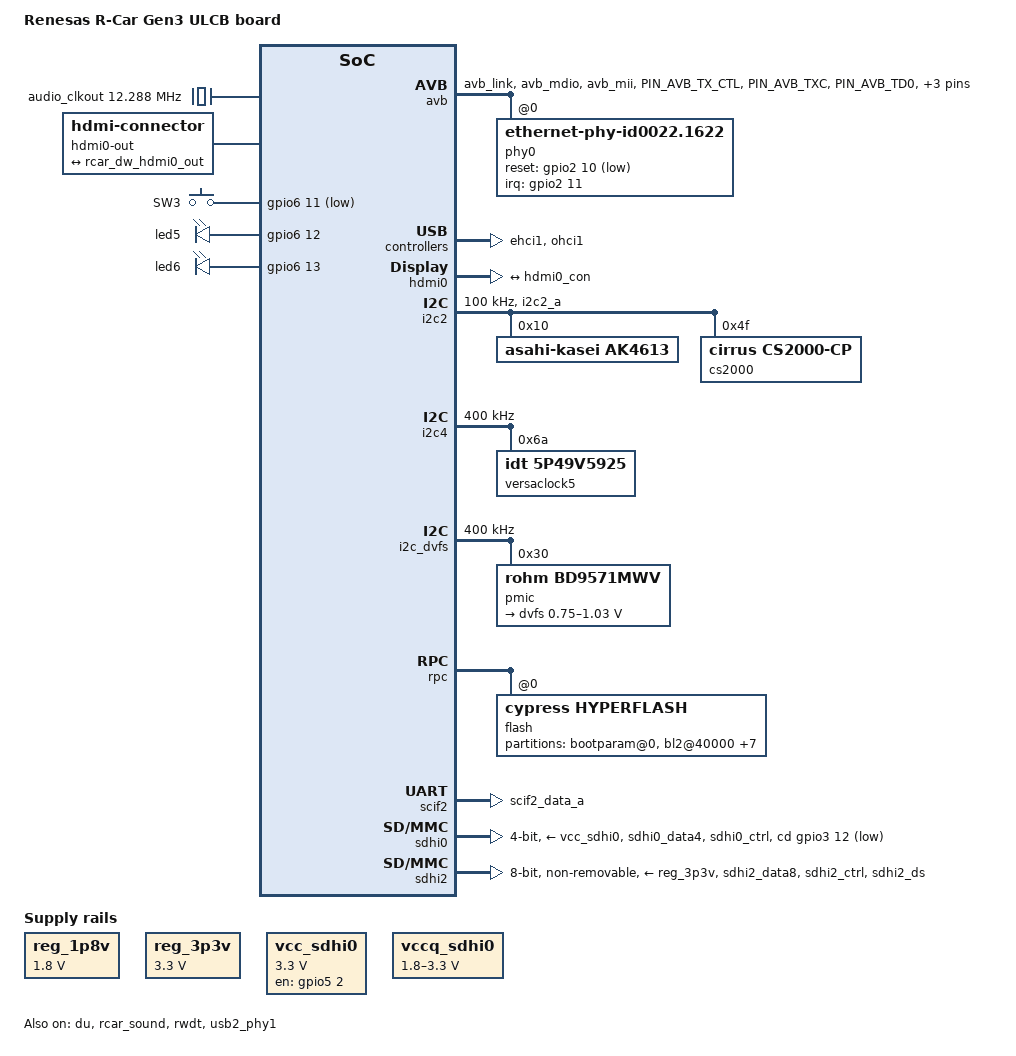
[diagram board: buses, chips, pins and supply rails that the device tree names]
// SPDX-License-Identifier: GPL-2.0
/*
 * Device Tree Source for the R-Car Gen3 ULCB board
 *
 * Copyright (C) 2016 Renesas Electronics Corp.
 * Copyright (C) 2016 Cogent Embedded, Inc.
 */

#include <dt-bindings/gpio/gpio.h>
#include <dt-bindings/input/input.h>

/ {
	model = "Renesas R-Car Gen3 ULCB board";

	aliases {
		i2c0 = &i2c0;
		i2c1 = &i2c1;
		i2c2 = &i2c2;
		i2c3 = &i2c3;
		i2c4 = &i2c4;
		i2c5 = &i2c5;
		i2c6 = &i2c6;
		i2c7 = &i2c_dvfs;
		serial0 = &scif2;
		ethernet0 = &avb;
		mmc0 = &sdhi2;
		mmc1 = &sdhi0;
	};

	chosen {
		bootargs = "ignore_loglevel rw root=/dev/nfs ip=on";
		stdout-path = "serial0:115200n8";
	};

	audio_clkout: audio-clkout {
		/*
		 * This is same as <&rcar_sound 0>
		 * but needed to avoid cs2000/rcar_sound probe dead-lock
		 */
		compatible = "fixed-clock";
		#clock-cells = <0>;
		clock-frequency = <12288000>;
	};

	hdmi0-out {
		compatible = "hdmi-connector";
		type = "a";

		port {
			hdmi0_con: endpoint {
				remote-endpoint = <&rcar_dw_hdmi0_out>;
			};
		};
	};

	keyboard {
		compatible = "gpio-keys";

		key-1 {
			linux,code = <KEY_1>;
			label = "SW3";
			wakeup-source;
			debounce-interval = <20>;
			gpios = <&gpio6 11 GPIO_ACTIVE_LOW>;
		};
	};

	leds {
		compatible = "gpio-leds";

		led5 {
			gpios = <&gpio6 12 GPIO_ACTIVE_HIGH>;
		};
		led6 {
			gpios = <&gpio6 13 GPIO_ACTIVE_HIGH>;
		};
	};

	reg_1p8v: regulator-1p8v {
		compatible = "regulator-fixed";
		regulator-name = "fixed-1.8V";
		regulator-min-microvolt = <1800000>;
		regulator-max-microvolt = <1800000>;
		regulator-boot-on;
		regulator-always-on;
	};

	reg_3p3v: regulator-3p3v {
		compatible = "regulator-fixed";
		regulator-name = "fixed-3.3V";
		regulator-min-microvolt = <3300000>;
		regulator-max-microvolt = <3300000>;
		regulator-boot-on;
		regulator-always-on;
	};

	vcc_sdhi0: regulator-vcc-sdhi0 {
		compatible = "regulator-fixed";

		regulator-name = "SDHI0 Vcc";
		regulator-min-microvolt = <3300000>;
		regulator-max-microvolt = <3300000>;

		gpio = <&gpio5 2 GPIO_ACTIVE_HIGH>;
		enable-active-high;
	};

	vccq_sdhi0: regulator-vccq-sdhi0 {
		compatible = "regulator-gpio";

		regulator-name = "SDHI0 VccQ";
		regulator-min-microvolt = <1800000>;
		regulator-max-microvolt = <3300000>;

		gpios = <&gpio5 1 GPIO_ACTIVE_HIGH>;
		gpios-states = <1>;
		states = <3300000 1>, <1800000 0>;
	};

	x12_clk: x12 {
		compatible = "fixed-clock";
		#clock-cells = <0>;
		clock-frequency = <24576000>;
	};

	x23_clk: x23-clock {
		compatible = "fixed-clock";
		#clock-cells = <0>;
		clock-frequency = <25000000>;
	};
};

&a57_0 {
	cpu-supply = <&dvfs>;
};

&audio_clk_a {
	clock-frequency = <22579200>;
};

&avb {
	pinctrl-0 = <&avb_pins>;
	pinctrl-names = "default";
	phy-handle = <&phy0>;
	tx-internal-delay-ps = <2000>;
	status = "okay";

	phy0: ethernet-phy@0 {
		compatible = "ethernet-phy-id0022.1622",
			     "ethernet-phy-ieee802.3-c22";
		rxc-skew-ps = <1500>;
		reg = <0>;
		interrupt-parent = <&gpio2>;
		interrupts = <11 IRQ_TYPE_LEVEL_LOW>;
		reset-gpios = <&gpio2 10 GPIO_ACTIVE_LOW>;
	};
};

&du {
	status = "okay";
};

&ehci1 {
	status = "okay";
};

&extal_clk {
	clock-frequency = <16666666>;
};

&extalr_clk {
	clock-frequency = <32768>;
};

&hdmi0 {
	status = "okay";

	ports {
		port@1 {
			reg = <1>;
			rcar_dw_hdmi0_out: endpoint {
				remote-endpoint = <&hdmi0_con>;
			};
		};
		port@2 {
			reg = <2>;
		};
	};
};

&i2c2 {
	pinctrl-0 = <&i2c2_pins>;
	pinctrl-names = "default";

	status = "okay";

	clock-frequency = <100000>;

	ak4613: codec@10 {
		compatible = "asahi-kasei,ak4613";
		reg = <0x10>;
		clocks = <&rcar_sound 3>;

		asahi-kasei,in1-single-end;
		asahi-kasei,in2-single-end;
		asahi-kasei,out1-single-end;
		asahi-kasei,out2-single-end;
		asahi-kasei,out3-single-end;
		asahi-kasei,out4-single-end;
		asahi-kasei,out5-single-end;
		asahi-kasei,out6-single-end;
	};

	cs2000: clk-multiplier@4f {
		#clock-cells = <0>;
		compatible = "cirrus,cs2000-cp";
		reg = <0x4f>;
		clocks = <&audio_clkout>, <&x12_clk>;
		clock-names = "clk_in", "ref_clk";

		assigned-clocks = <&cs2000>;
		assigned-clock-rates = <24576000>; /* 1/1 divide */
	};
};

&i2c4 {
	status = "okay";

	clock-frequency = <400000>;

	versaclock5: clock-generator@6a {
		compatible = "idt,5p49v5925";
		reg = <0x6a>;
		#clock-cells = <1>;
		clocks = <&x23_clk>;
		clock-names = "xin";
	};
};

&i2c_dvfs {
	status = "okay";

	clock-frequency = <400000>;

	pmic: pmic@30 {
		pinctrl-0 = <&irq0_pins>;
		pinctrl-names = "default";

		compatible = "rohm,bd9571mwv";
		reg = <0x30>;
		interrupt-parent = <&intc_ex>;
		interrupts = <0 IRQ_TYPE_LEVEL_LOW>;
		interrupt-controller;
		#interrupt-cells = <2>;
		gpio-controller;
		#gpio-cells = <2>;
		rohm,ddr-backup-power = <0xf>;
		rohm,rstbmode-pulse;

		regulators {
			dvfs: dvfs {
				regulator-name = "dvfs";
				regulator-min-microvolt = <750000>;
				regulator-max-microvolt = <1030000>;
				regulator-boot-on;
				regulator-always-on;
			};
		};
	};
};

&ohci1 {
	status = "okay";
};

&pfc {
	pinctrl-0 = <&scif_clk_pins>;
	pinctrl-names = "default";

	avb_pins: avb {
		mux {
			groups = "avb_link", "avb_mdio", "avb_mii";
			function = "avb";
		};

		pins_mdio {
			groups = "avb_mdio";
			drive-strength = <24>;
		};

		pins_mii_tx {
			pins = "PIN_AVB_TX_CTL", "PIN_AVB_TXC", "PIN_AVB_TD0",
			       "PIN_AVB_TD1", "PIN_AVB_TD2", "PIN_AVB_TD3";
			drive-strength = <12>;
		};
	};

	i2c2_pins: i2c2 {
		groups = "i2c2_a";
		function = "i2c2";
	};

	irq0_pins: irq0 {
		groups = "intc_ex_irq0";
		function = "intc_ex";
	};

	scif2_pins: scif2 {
		groups = "scif2_data_a";
		function = "scif2";
	};

	scif_clk_pins: scif_clk {
		groups = "scif_clk_a";
		function = "scif_clk";
	};

	sdhi0_pins: sd0 {
		groups = "sdhi0_data4", "sdhi0_ctrl";
		function = "sdhi0";
		power-source = <3300>;
	};

	sdhi0_pins_uhs: sd0_uhs {
		groups = "sdhi0_data4", "sdhi0_ctrl";
		function = "sdhi0";
		power-source = <1800>;
	};

	sdhi2_pins: sd2 {
		groups = "sdhi2_data8", "sdhi2_ctrl", "sdhi2_ds";
		function = "sdhi2";
		power-source = <1800>;
	};

	sound_pins: sound {
		groups = "ssi01239_ctrl", "ssi0_data", "ssi1_data_a";
		function = "ssi";
	};

	sound_clk_pins: sound-clk {
		groups = "audio_clk_a_a", "audio_clk_b_a", "audio_clk_c_a",
			 "audio_clkout_a", "audio_clkout3_a";
		function = "audio_clk";
	};

	usb1_pins: usb1 {
		groups = "usb1";
		function = "usb1";
	};
};

&rcar_sound {
	pinctrl-0 = <&sound_pins>, <&sound_clk_pins>;
	pinctrl-names = "default";

	/* audio_clkout0/1/2/3 */
	#clock-cells = <1>;
	clock-frequency = <12288000 11289600>;

	status = "okay";

	/* update <audio_clk_b> to <cs2000> */
	clocks = <&cpg CPG_MOD 1005>,
		 <&cpg CPG_MOD 1006>, <&cpg CPG_MOD 1007>,
		 <&cpg CPG_MOD 1008>, <&cpg CPG_MOD 1009>,
		 <&cpg CPG_MOD 1010>, <&cpg CPG_MOD 1011>,
		 <&cpg CPG_MOD 1012>, <&cpg CPG_MOD 1013>,
		 <&cpg CPG_MOD 1014>, <&cpg CPG_MOD 1015>,
		 <&cpg CPG_MOD 1022>, <&cpg CPG_MOD 1023>,
		 <&cpg CPG_MOD 1024>, <&cpg CPG_MOD 1025>,
		 <&cpg CPG_MOD 1026>, <&cpg CPG_MOD 1027>,
		 <&cpg CPG_MOD 1028>, <&cpg CPG_MOD 1029>,
		 <&cpg CPG_MOD 1030>, <&cpg CPG_MOD 1031>,
		 <&cpg CPG_MOD 1020>, <&cpg CPG_MOD 1021>,
		 <&cpg CPG_MOD 1020>, <&cpg CPG_MOD 1021>,
		 <&cpg CPG_MOD 1019>, <&cpg CPG_MOD 1018>,
		 <&audio_clk_a>, <&cs2000>,
		 <&audio_clk_c>,
		 <&cpg CPG_CORE CPG_AUDIO_CLK_I>;
};

&rpc {
	/* Left disabled.  To be enabled by firmware when unlocked. */

	flash@0 {
		compatible = "cypress,hyperflash", "cfi-flash";
		reg = <0>;

		partitions {
			compatible = "fixed-partitions";
			#address-cells = <1>;
			#size-cells = <1>;

			bootparam@0 {
				reg = <0x00000000 0x040000>;
				read-only;
			};
			bl2@40000 {
				reg = <0x00040000 0x140000>;
				read-only;
			};
			cert_header_sa6@180000 {
				reg = <0x00180000 0x040000>;
				read-only;
			};
			bl31@1c0000 {
				reg = <0x001c0000 0x040000>;
				read-only;
			};
			tee@200000 {
				reg = <0x00200000 0x440000>;
				read-only;
			};
			uboot@640000 {
				reg = <0x00640000 0x100000>;
				read-only;
			};
			dtb@740000 {
				reg = <0x00740000 0x080000>;
			};
			kernel@7c0000 {
				reg = <0x007c0000 0x1400000>;
			};
			user@1bc0000 {
				reg = <0x01bc0000 0x2440000>;
			};
		};
	};
};

&rwdt {
	timeout-sec = <60>;
	status = "okay";
};

&scif2 {
	pinctrl-0 = <&scif2_pins>;
	pinctrl-names = "default";

	status = "okay";
};

&scif_clk {
	clock-frequency = <14745600>;
};

&sdhi0 {
	pinctrl-0 = <&sdhi0_pins>;
	pinctrl-1 = <&sdhi0_pins_uhs>;
	pinctrl-names = "default", "state_uhs";

	vmmc-supply = <&vcc_sdhi0>;
	vqmmc-supply = <&vccq_sdhi0>;
	cd-gpios = <&gpio3 12 GPIO_ACTIVE_LOW>;
	bus-width = <4>;
	sd-uhs-sdr50;
	sd-uhs-sdr104;
	status = "okay";
};

&sdhi2 {
	/* used for on-board 8bit eMMC */
	pinctrl-0 = <&sdhi2_pins>;
	pinctrl-1 = <&sdhi2_pins>;
	pinctrl-names = "default", "state_uhs";

	vmmc-supply = <&reg_3p3v>;
	vqmmc-supply = <&reg_1p8v>;
	bus-width = <8>;
	mmc-hs200-1_8v;
	mmc-hs400-1_8v;
	no-sd;
	no-sdio;
	non-removable;
	full-pwr-cycle-in-suspend;
	status = "okay";
};

&ssi1 {
	shared-pin;
};

&usb2_phy1 {
	pinctrl-0 = <&usb1_pins>;
	pinctrl-names = "default";

	status = "okay";
};


/*
 * For sound-test.
 *
 * We can switch Audio Card for testing
 *
 * #include "ulcb-simple-audio-card.dtsi"
 * #include "ulcb-simple-audio-card-mix+split.dtsi"
 * #include "ulcb-audio-graph-card.dtsi"
 * #include "ulcb-audio-graph-card-mix+split.dtsi"
 * #include "ulcb-audio-graph-card2-mix+split.dtsi"
 */
#include "ulcb-audio-graph-card2.dtsi"
